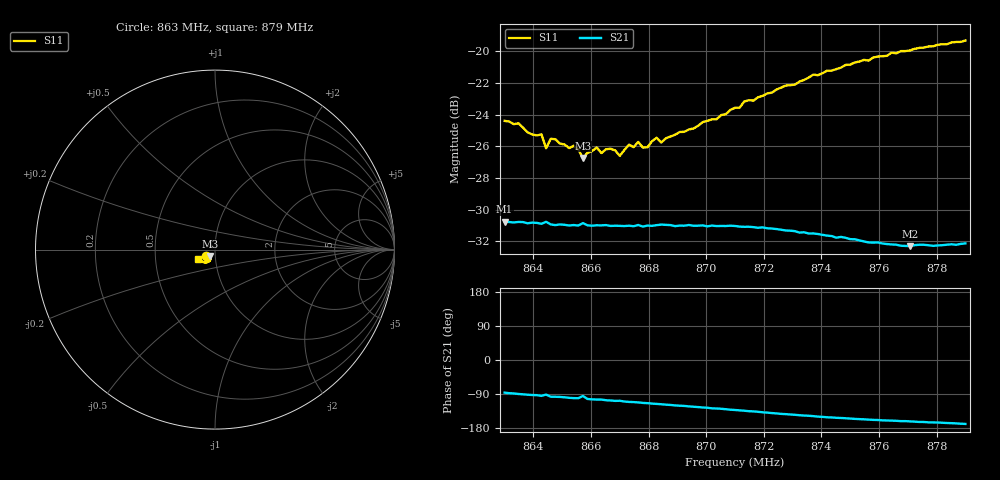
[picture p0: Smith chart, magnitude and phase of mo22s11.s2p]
# HZ S RI R 50
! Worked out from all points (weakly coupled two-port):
!   101 points, 863 MHz to 879 MHz, reference 50 ohm
!   highest |S21| = -30.75 dB at 863 MHz (marker M1); lowest = -32.3 dB at 877.08 MHz (marker M2)
!   lowest |S11| = -26.7 dB at 865.72 MHz (marker M3), VSWR 1.10, Z = 47.1 - j3.4 ohm
!   |S11| at or under -10 dB: start of sweep to end of sweep
!   S12 and S22 are empty: the file has one direction only
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8.63e8  -0.0481 -0.0364  0.00191 -0.0289  0 0  0 0
8.6428e8  -0.0412 -0.036  -0.00233 -0.0284  0 0  0 0
8.6444e8  -0.0348 -0.035  -0.000642 -0.029  0 0  0 0
8.646e8  -0.0396 -0.0351  -0.00341 -0.0282  0 0  0 0
8.6524e8  -0.0355 -0.0345  -0.00481 -0.0278  0 0  0 0
8.654e8  -0.0356 -0.0356  -0.00521 -0.0278  0 0  0 0
8.6572e8  -0.0287 -0.036  -0.00244 -0.0286  0 0  0 0
8.662e8  -0.0325 -0.0376  -0.00703 -0.0273  0 0  0 0
8.6636e8  -0.0304 -0.0368  -0.00699 -0.0273  0 0  0 0
8.6668e8  -0.0304 -0.0387  -0.00814 -0.0269  0 0  0 0
8.67e8  -0.0268 -0.0384  -0.0085 -0.0268  0 0  0 0
8.6732e8  -0.0291 -0.0415  -0.0099 -0.0264  0 0  0 0
8.6748e8  -0.0263 -0.0423  -0.0101 -0.0262  0 0  0 0
8.6764e8  -0.0282 -0.0434  -0.0106 -0.0262  0 0  0 0
8.6796e8  -0.0252 -0.0429  -0.0114 -0.0257  0 0  0 0
8.6828e8  -0.0259 -0.0466  -0.0123 -0.0254  0 0  0 0
8.6844e8  -0.0245 -0.0453  -0.0128 -0.0253  0 0  0 0
8.71e8  -0.0286 -0.0599  -0.0188 -0.0209  0 0  0 0
8.7372e8  -0.0456 -0.071  -0.0226 -0.014  0 0  0 0
8.7644e8  -0.0716 -0.0685  -0.0231 -0.00839  0 0  0 0
8.7708e8  -0.0771 -0.0646  -0.0231 -0.00746  0 0  0 0
8.79e8  -0.0951 -0.0516  -0.0243 -0.00485  0 0  0 0
